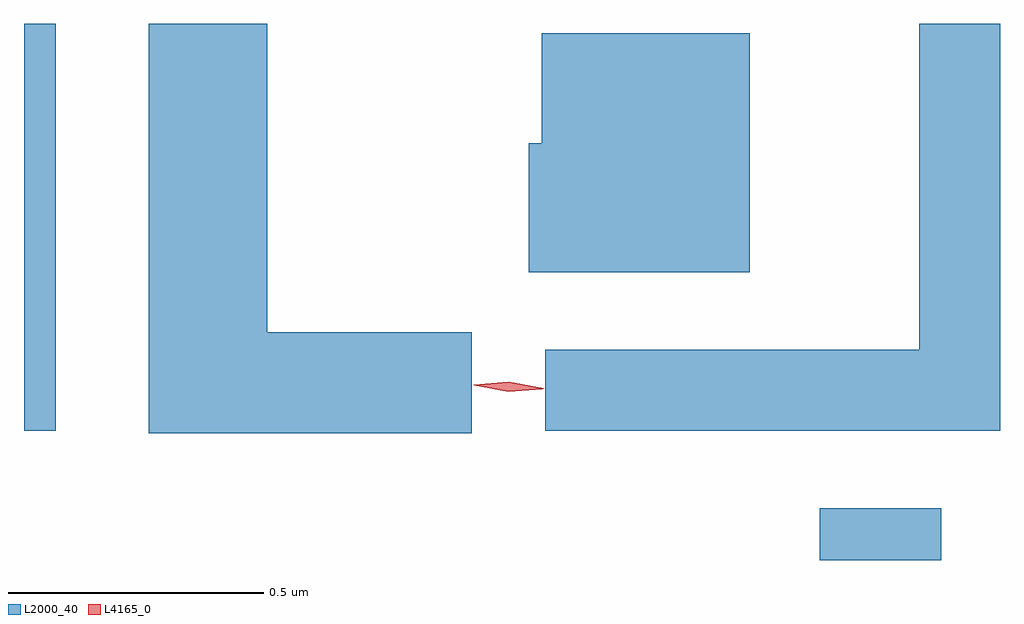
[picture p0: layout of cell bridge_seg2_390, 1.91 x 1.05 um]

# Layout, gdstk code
import gdstk
lib = gdstk.Library(unit=1e-6, precision=1e-09)
def R(c, l, rs):  # rectangles x0, y0, x1, y1
    for r in rs: c.add(gdstk.rectangle(r[:2], r[2:], *l))
def P(c, l, *ps):  # polygons
    for p in ps: c.add(gdstk.Polygon(p, *l))
L2000_40 = (2000, 40)
L4165_0 = (4165, 0)

bridge_seg2_390 = lib.new_cell('bridge_seg2_390')
R(bridge_seg2_390, L2000_40, [(599.156,977.802,599.394,977.904), (597.597,978.056,597.659,978.853)])
P(bridge_seg2_390, L2000_40, [(599.509,978.853),(599.351,978.853),(599.351,978.214),(598.618,978.214),(598.618,978.056),(599.509,978.056)],
  [(598.474,978.249),(598.074,978.249),(598.074,978.853),(597.841,978.853),(597.841,978.051),(598.474,978.051)],
  [(599.019,978.834),(598.611,978.834),(598.611,978.619),(598.586,978.619),(598.586,978.366),(599.019,978.366)])
P(bridge_seg2_390, L4165_0, [(598.546,978.132),(598.481,978.145),(598.481,978.145),(598.481,978.146),(598.547,978.152),(598.612,978.138),(598.612,978.138),(598.612,978.137)],
  [(598.546,978.132),(598.478,978.145),(598.478,978.145),(598.478,978.146),(598.547,978.152),(598.615,978.139),(598.615,978.139),(598.615,978.138)])

lib.write_gds('bridge_seg2_390.gds')
